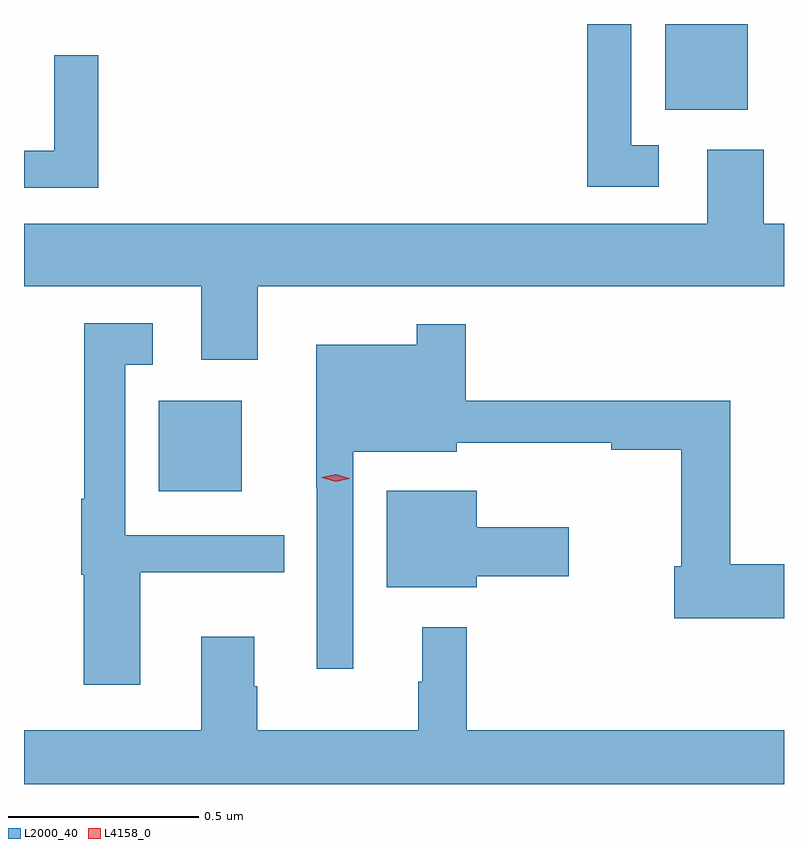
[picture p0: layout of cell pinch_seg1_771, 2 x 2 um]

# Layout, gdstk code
import gdstk
lib = gdstk.Library(unit=1e-6, precision=1e-09)
def R(c, l, rs):  # rectangles x0, y0, x1, y1
    for r in rs: c.add(gdstk.rectangle(r[:2], r[2:], *l))
def P(c, l, *ps):  # polygons
    for p in ps: c.add(gdstk.Polygon(p, *l))
L2000_40 = (2000, 40)
L4158_0 = (4158, 0)

pinch_seg1_771 = lib.new_cell('pinch_seg1_771')
R(pinch_seg1_771, L2000_40, [(869.282,513.896,869.5,514.135), (870.614,514.901,870.832,515.126)])
P(pinch_seg1_771, L2000_40, [(870.598,514.807),(870.525,514.807),(870.525,515.126),(870.409,515.126),(870.409,514.698),(870.598,514.698)],
  [(869.123,515.044),(869.006,515.044),(869.006,514.792),(868.927,514.792),(868.927,514.695),(869.123,514.695)],
  [(869.542,514.436),(870.927,514.436),(870.927,514.6),(870.874,514.6),(870.874,514.795),(870.725,514.795),(870.725,514.6),(868.927,514.6),(868.927,514.436),(869.393,514.436),(869.393,514.242),(869.542,514.242)],
  [(869.233,513.683),(869.612,513.683),(869.612,513.78),(869.193,513.78),(869.193,514.229),(869.266,514.229),(869.266,514.339),(869.085,514.339),(869.085,513.877),(869.077,513.877),(869.077,513.677),(869.084,513.677),(869.084,513.387),(869.233,513.387)],
  [(869.793,514.001),(870.066,514.001),(870.066,514.024),(870.472,514.024),(870.472,514.006),(870.657,514.006),(870.657,513.699),(870.638,513.699),(870.638,513.562),(870.927,513.562),(870.927,513.704),(870.785,513.704),(870.785,514.135),(870.089,514.135),(870.089,514.336),(869.961,514.336),(869.961,514.282),(869.696,514.282),(869.696,513.905),(869.697,513.905),(869.697,513.429),(869.793,513.429)],
  [(870.118,513.673),(870.361,513.673),(870.361,513.802),(870.118,513.802),(870.118,513.898),(869.882,513.898),(869.882,513.644),(870.118,513.644)],
  [(870.927,513.268),(870.092,513.268),(870.092,513.538),(869.975,513.538),(869.975,513.395),(869.964,513.395),(869.964,513.268),(869.541,513.268),(869.541,513.383),(869.533,513.383),(869.533,513.514),(869.393,513.514),(869.393,513.268),(868.927,513.268),(868.927,513.126),(870.927,513.126)])
P(pinch_seg1_771, L4158_0, [(869.747,513.921),(869.712,513.932),(869.711,513.933),(869.712,513.933),(869.748,513.941),(869.783,513.93),(869.783,513.929),(869.783,513.929)])

lib.write_gds('pinch_seg1_771.gds')
